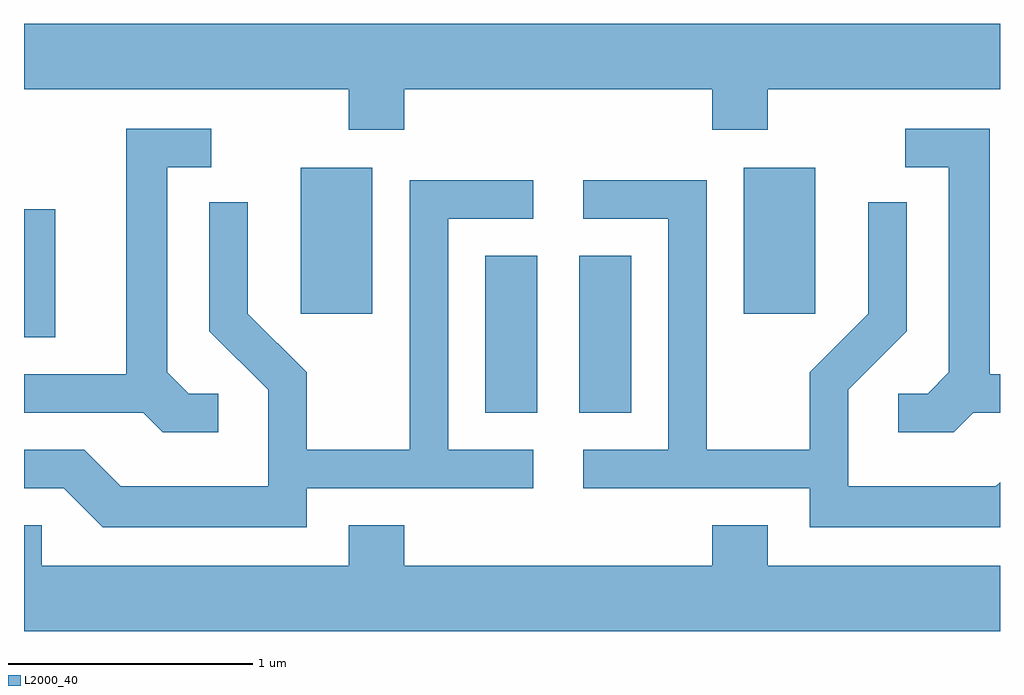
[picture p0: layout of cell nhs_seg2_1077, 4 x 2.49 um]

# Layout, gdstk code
import gdstk
lib = gdstk.Library(unit=1e-6, precision=1e-09)
def R(c, l, rs):  # rectangles x0, y0, x1, y1
    for r in rs: c.add(gdstk.rectangle(r[:2], r[2:], *l))
def P(c, l, *ps):  # polygons
    for p in ps: c.add(gdstk.Polygon(p, *l))
L2000_40 = (2000, 40)

nhs_seg2_1077 = lib.new_cell('nhs_seg2_1077')
R(nhs_seg2_1077, L2000_40, [(217.501,1093.611,217.714,1094.254), (217.886,1093.611,218.099,1094.254), (215.611,1093.921,215.739,1094.444), (216.746,1094.016,217.039,1094.614), (218.561,1094.016,218.854,1094.614)])
P(nhs_seg2_1077, L2000_40, [(217.169,1094.936),(218.431,1094.936),(218.431,1094.771),(218.659,1094.771),(218.659,1094.936),(219.611,1094.936),(219.611,1095.204),(215.611,1095.204),(215.611,1094.936),(216.941,1094.936),(216.941,1094.771),(217.169,1094.771)],
  [(216.408,1093.689),(216.287,1093.689),(216.199,1093.777),(216.199,1094.616),(216.378,1094.616),(216.378,1094.774),(216.031,1094.774),(216.031,1093.769),(215.611,1093.769),(215.611,1093.611),(216.099,1093.611),(216.179,1093.531),(216.408,1093.531)],
  [(219.502,1093.611),(219.611,1093.611),(219.611,1093.769),(219.569,1093.769),(219.569,1094.774),(219.223,1094.774),(219.223,1094.616),(219.401,1094.616),(219.401,1093.777),(219.314,1093.689),(219.193,1093.689),(219.193,1093.531),(219.422,1093.531)],
  [(216.769,1093.301),(217.698,1093.301),(217.698,1093.459),(217.349,1093.459),(217.349,1094.406),(217.698,1094.406),(217.698,1094.564),(217.191,1094.564),(217.191,1093.459),(216.769,1093.459),(216.769,1093.777),(216.529,1094.017),(216.529,1094.473),(216.371,1094.473),(216.371,1093.944),(216.611,1093.704),(216.611,1093.309),(216.007,1093.309),(215.857,1093.459),(215.611,1093.459),(215.611,1093.301),(215.774,1093.301),(215.934,1093.141),(216.769,1093.141)],
  [(219.611,1093.326),(219.594,1093.309),(218.989,1093.309),(218.989,1093.704),(219.229,1093.944),(219.229,1094.473),(219.071,1094.473),(219.071,1094.017),(218.831,1093.777),(218.831,1093.459),(218.409,1093.459),(218.409,1094.564),(217.903,1094.564),(217.903,1094.406),(218.251,1094.406),(218.251,1093.459),(217.903,1093.459),(217.903,1093.301),(218.831,1093.301),(218.831,1093.141),(219.611,1093.141)],
  [(219.611,1092.984),(218.659,1092.984),(218.659,1093.149),(218.431,1093.149),(218.431,1092.984),(217.169,1092.984),(217.169,1093.149),(216.941,1093.149),(216.941,1092.984),(215.684,1092.984),(215.684,1093.149),(215.611,1093.149),(215.611,1092.716),(219.611,1092.716)])

lib.write_gds('nhs_seg2_1077.gds')
